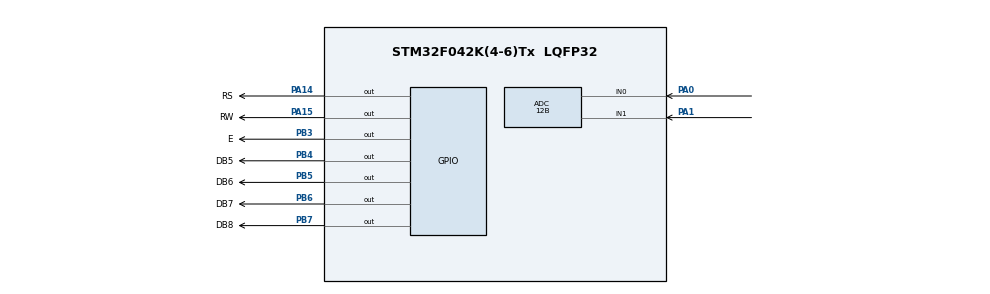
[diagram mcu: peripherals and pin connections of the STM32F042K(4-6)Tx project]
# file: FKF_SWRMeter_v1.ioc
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ADC.ClockPrescaler=ADC_CLOCK_SYNC_PCLK_DIV2
ADC.ContinuousConvMode=ENABLE
ADC.DMAContinuousRequests=ENABLE
ADC.DataAlign=ADC_DATAALIGN_RIGHT
ADC.DiscontinuousConvMode=DISABLE
ADC.EOCSelection=ADC_EOC_SEQ_CONV
ADC.EnableAnalogWatchDog=false
ADC.ExternalTrigConv=ADC_SOFTWARE_START
ADC.ExternalTrigConvEdge=ADC_EXTERNALTRIGCONVEDGE_NONE
ADC.LowPowerAutoPowerOff=DISABLE
ADC.LowPowerAutoWait=DISABLE
ADC.Overrun=ADC_OVR_DATA_OVERWRITTEN
ADC.Resolution=ADC_RESOLUTION_12B
ADC.SamplingTime=ADC_SAMPLETIME_1CYCLE_5
ADC.ScanConvMode=ADC_SCAN_DIRECTION_FORWARD
Dma.ADC.0.Direction=DMA_PERIPH_TO_MEMORY
Dma.ADC.0.Instance=DMA1_Channel1
Dma.ADC.0.MemDataAlignment=DMA_MDATAALIGN_HALFWORD
Dma.ADC.0.MemInc=DMA_MINC_ENABLE
Dma.ADC.0.Mode=DMA_CIRCULAR
Dma.ADC.0.PeriphDataAlignment=DMA_PDATAALIGN_HALFWORD
Dma.ADC.0.PeriphInc=DMA_PINC_DISABLE
Dma.ADC.0.Priority=DMA_PRIORITY_MEDIUM
Dma.Request0=ADC
Mcu.Family=STM32F0
Mcu.Name=STM32F042K(4-6)Tx
Mcu.Package=LQFP32
NVIC.DMA1_Channel1_IRQn=true\:0\:0\:false\:false\:true\:true
PA0.Mode=IN0
PA0.Signal=ADC_IN0
PA1.Mode=IN1
PA1.Signal=ADC_IN1
PA14.GPIO_Label=RS
PA14.Signal=GPIO_Output
PA15.GPIO_Label=RW
PA15.Signal=GPIO_Output
PB3.GPIO_Label=E
PB3.Signal=GPIO_Output
PB4.GPIO_Label=DB5
PB4.Signal=GPIO_Output
PB5.GPIO_Label=DB6
PB5.Signal=GPIO_Output
PB6.GPIO_Label=DB7
PB6.Signal=GPIO_Output
PB7.GPIO_Label=DB8
PB7.Signal=GPIO_Output
ProjectManager.HeapSize=0x200
ProjectManager.StackSize=0x400
ProjectManager.TargetToolchain=SW4STM32
board=FKF_SWRMeter_v1

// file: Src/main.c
/**
  ******************************************************************************
  * @file           : main.c
  * @brief          : Main program body
  ******************************************************************************
  ** This notice applies to any and all portions of this file
  * that are not between comment pairs USER CODE BEGIN and
  * USER CODE END. Other portions of this file, whether
  * inserted by the user or by software development tools
  * are owned by their respective copyright owners.
  *
  * COPYRIGHT(c) 2018 STMicroelectronics
  *
  * Redistribution and use in source and binary forms, with or without modification,
  * are permitted provided that the following conditions are met:
  *   1. Redistributions of source code must retain the above copyright notice,
  *      this list of conditions and the following disclaimer.
  *   2. Redistributions in binary form must reproduce the above copyright notice,
  *      this list of conditions and the following disclaimer in the documentation
  *      and/or other materials provided with the distribution.
  *   3. Neither the name of STMicroelectronics nor the names of its contributors
  *      may be used to endorse or promote products derived from this software
  *      without specific prior written permission.
  *
  * THIS SOFTWARE IS PROVIDED BY THE COPYRIGHT HOLDERS AND CONTRIBUTORS "AS IS"
  * AND ANY EXPRESS OR IMPLIED WARRANTIES, INCLUDING, BUT NOT LIMITED TO, THE
  * IMPLIED WARRANTIES OF MERCHANTABILITY AND FITNESS FOR A PARTICULAR PURPOSE ARE
  * DISCLAIMED. IN NO EVENT SHALL THE COPYRIGHT HOLDER OR CONTRIBUTORS BE LIABLE
  * FOR ANY DIRECT, INDIRECT, INCIDENTAL, SPECIAL, EXEMPLARY, OR CONSEQUENTIAL
  * DAMAGES (INCLUDING, BUT NOT LIMITED TO, PROCUREMENT OF SUBSTITUTE GOODS OR
  * SERVICES; LOSS OF USE, DATA, OR PROFITS; OR BUSINESS INTERRUPTION) HOWEVER
  * CAUSED AND ON ANY THEORY OF LIABILITY, WHETHER IN CONTRACT, STRICT LIABILITY,
  * OR TORT (INCLUDING NEGLIGENCE OR OTHERWISE) ARISING IN ANY WAY OUT OF THE USE
  * OF THIS SOFTWARE, EVEN IF ADVISED OF THE POSSIBILITY OF SUCH DAMAGE.
  *
  ******************************************************************************
  */
#include "main.h"
#include "stm32f0xx_hal.h"

/* USER CODE BEGIN Includes */
#include "lcd.h"
#include <math.h>
#include <string.h>
/* USER CODE END Includes */

ADC_HandleTypeDef hadc;
DMA_HandleTypeDef hdma_adc;

/* USER CODE BEGIN PV */
/* Private variables ---------------------------------------------------------*/
#define MED_VALUE 10
#define FWD_SLOPE 0.034602076
#define FWD_INTERCEPT 43.979238754
#define REF_SLOPE 0.034843206
#define REF_INTERCEPT 45.12195122

/* USER CODE END PV */

void SystemClock_Config(void);
static void MX_GPIO_Init(void);
static void MX_DMA_Init(void);
static void MX_ADC_Init(void);

/* USER CODE BEGIN PFP */
/* Private function prototypes -----------------------------------------------*/
int median_value(int *c);
double mean_value(double *c);

/* USER CODE END PFP */

int main(void)
{

  /* MCU Configuration----------------------------------------------------------*/

  /* Reset of all peripherals, Initializes the Flash interface and the Systick. */
  HAL_Init();

  /* Configure the system clock */
  SystemClock_Config();

  /* Initialize all configured peripherals */
  MX_GPIO_Init();
  MX_DMA_Init();
  MX_ADC_Init();
  /* USER CODE BEGIN 2 */

  HAL_Delay(50);
  LcdInit();
  HAL_Delay(10);

  LcdPuts((char *)"POWER+SWR  METER");
  HAL_Delay(10);
  LcdXy(0,1);
  HAL_Delay(10);
  LcdPuts((char *)"     JP7FKF     ");
  HAL_Delay(1000);
  LcdCls();

  int i = 0;
//  int fwd_buf[MED_VALUE], ref_buf[MED_VALUE];
  int fwd,ref;
  double fwd_watt, ref_watt;
  double fwd_sqrt, ref_sqrt;
  double swr;
  char str[10];

  enum{ ADC_BUFFER_LENGTH = 1024 };
  uint16_t g_ADCBuffer[ADC_BUFFER_LENGTH];

  memset(g_ADCBuffer, 0, sizeof(g_ADCBuffer));
  HAL_ADC_Start_DMA(&hadc, (uint32_t *)g_ADCBuffer, (uint32_t)ADC_BUFFER_LENGTH);

  /* USER CODE END 2 */

  /* Infinite loop */
  while (1)
  {

  /* USER CODE BEGIN 3 */
	  fwd = g_ADCBuffer[0];
	  ref = g_ADCBuffer[1];

//	  fwd_buf[i] = (int)fwd;
//	  fwd = median_value(fwd_buf);
//	  ref_buf[i] = (int)ref;
//	  ref = median_value(ref_buf);

//	  fwd_buf[i] = (double)fwd_watt;
//	  fwd_watt = mean_value(fwd_buf);
//	  ref_buf[i] = (double)ref_watt;
//	  ref_watt = mean_value(ref_buf);

	  i++;
	  if(i>=MED_VALUE)
		  i=0;

	fwd_watt = fwd * FWD_SLOPE - FWD_INTERCEPT; //volt -> dBm
	ref_watt = ref * REF_SLOPE - REF_INTERCEPT;

	fwd_watt = pow(10, fwd_watt/10);  //dBm -> mW
	ref_watt = pow(10, ref_watt/10);

	fwd_sqrt = fwd_watt;
	ref_sqrt = ref_watt;

	if(fwd_watt + ref_watt < 0.001)
		swr = -1;
	else
		swr = 1;

	if(fwd_watt < 1)
	{
		// mW to uW
		fwd_watt *= 1000;
		sprintf(str, "%6.2fuW",fwd_watt);
	}else if(fwd_watt > 1000){
		// mW to W
		fwd_watt /= 1000;
		sprintf(str, "%7.1fW",fwd_watt);
	}else{
		sprintf(str, "%6.2fmW",fwd_watt);
	}
	LcdXy(0,0);
	LcdPuts(str);
	LcdXy(8,0);
	LcdPuts("/");

	if(ref_watt < 1)
	{
		// mW to uW
		ref_watt *= 1000;
		sprintf(str, "%5.1fuW",ref_watt);
	}else if(ref_watt > 1000){
		// mW to W
		ref_watt /= 1000;
		sprintf(str, "%6.1fW",ref_watt);
	}else{
		sprintf(str, "%5.1fmW",ref_watt);
	}
	LcdPuts(str);

	if(swr == 1)
	{
		//calc swr
		fwd_sqrt = sqrt(fwd_sqrt);
		ref_sqrt = sqrt(ref_sqrt);

		swr = (fwd_sqrt + ref_sqrt)/(fwd_sqrt - ref_sqrt);
//		if(swr > 9.9)
//			swr = 9.99;
		sprintf(str, "SWR: %5.2f",swr);
	}else{
		sprintf(str, "Standby");
	}
//	sprintf(str,"%4d / %4d",fwd, ref);
	LcdXy(0,1);
	LcdPuts(str);
  }
  /* USER CODE END 3 */

}

void SystemClock_Config(void)
{

  RCC_OscInitTypeDef RCC_OscInitStruct;
  RCC_ClkInitTypeDef RCC_ClkInitStruct;

    /**Initializes the CPU, AHB and APB busses clocks
    */
  RCC_OscInitStruct.OscillatorType = RCC_OSCILLATORTYPE_HSI;
  RCC_OscInitStruct.HSIState = RCC_HSI_ON;
  RCC_OscInitStruct.HSICalibrationValue = 16;
  RCC_OscInitStruct.PLL.PLLState = RCC_PLL_NONE;
  if (HAL_RCC_OscConfig(&RCC_OscInitStruct) != HAL_OK)
  {
    _Error_Handler(__FILE__, __LINE__);
  }

    /**Initializes the CPU, AHB and APB busses clocks
    */
  RCC_ClkInitStruct.ClockType = RCC_CLOCKTYPE_HCLK|RCC_CLOCKTYPE_SYSCLK
                              |RCC_CLOCKTYPE_PCLK1;
  RCC_ClkInitStruct.SYSCLKSource = RCC_SYSCLKSOURCE_HSI;
  RCC_ClkInitStruct.AHBCLKDivider = RCC_SYSCLK_DIV1;
  RCC_ClkInitStruct.APB1CLKDivider = RCC_HCLK_DIV1;

  if (HAL_RCC_ClockConfig(&RCC_ClkInitStruct, FLASH_LATENCY_0) != HAL_OK)
  {
    _Error_Handler(__FILE__, __LINE__);
  }

    /**Configure the Systick interrupt time
    */
  HAL_SYSTICK_Config(HAL_RCC_GetHCLKFreq()/1000);

    /**Configure the Systick
    */
  HAL_SYSTICK_CLKSourceConfig(SYSTICK_CLKSOURCE_HCLK);

  /* SysTick_IRQn interrupt configuration */
  HAL_NVIC_SetPriority(SysTick_IRQn, 0, 0);
}

/* ADC init function */
static void MX_ADC_Init(void)
{

  ADC_ChannelConfTypeDef sConfig;

    /**Configure the global features of the ADC (Clock, Resolution, Data Alignment and number of conversion)
    */
  hadc.Instance = ADC1;
  hadc.Init.ClockPrescaler = ADC_CLOCK_SYNC_PCLK_DIV2;
  hadc.Init.Resolution = ADC_RESOLUTION_12B;
  hadc.Init.DataAlign = ADC_DATAALIGN_RIGHT;
  hadc.Init.ScanConvMode = ADC_SCAN_DIRECTION_FORWARD;
  hadc.Init.EOCSelection = ADC_EOC_SEQ_CONV;
  hadc.Init.LowPowerAutoWait = DISABLE;
  hadc.Init.LowPowerAutoPowerOff = DISABLE;
  hadc.Init.ContinuousConvMode = ENABLE;
  hadc.Init.DiscontinuousConvMode = DISABLE;
  hadc.Init.ExternalTrigConv = ADC_SOFTWARE_START;
  hadc.Init.ExternalTrigConvEdge = ADC_EXTERNALTRIGCONVEDGE_NONE;
  hadc.Init.DMAContinuousRequests = ENABLE;
  hadc.Init.Overrun = ADC_OVR_DATA_OVERWRITTEN;
  if (HAL_ADC_Init(&hadc) != HAL_OK)
  {
    _Error_Handler(__FILE__, __LINE__);
  }

    /**Configure for the selected ADC regular channel to be converted.
    */
  sConfig.Channel = ADC_CHANNEL_0;
  sConfig.Rank = ADC_RANK_CHANNEL_NUMBER;
  sConfig.SamplingTime = ADC_SAMPLETIME_1CYCLE_5;
  if (HAL_ADC_ConfigChannel(&hadc, &sConfig) != HAL_OK)
  {
    _Error_Handler(__FILE__, __LINE__);
  }

    /**Configure for the selected ADC regular channel to be converted.
    */
  sConfig.Channel = ADC_CHANNEL_1;
  if (HAL_ADC_ConfigChannel(&hadc, &sConfig) != HAL_OK)
  {
    _Error_Handler(__FILE__, __LINE__);
  }

}

static void MX_DMA_Init(void)
{
  /* DMA controller clock enable */
  __HAL_RCC_DMA1_CLK_ENABLE();

  /* DMA interrupt init */
  /* DMA1_Channel1_IRQn interrupt configuration */
  HAL_NVIC_SetPriority(DMA1_Channel1_IRQn, 0, 0);
  HAL_NVIC_EnableIRQ(DMA1_Channel1_IRQn);

}

/** Configure pins as
        * Analog
        * Input
        * Output
        * EVENT_OUT
        * EXTI
*/
static void MX_GPIO_Init(void)
{

  GPIO_InitTypeDef GPIO_InitStruct;

  /* GPIO Ports Clock Enable */
  __HAL_RCC_GPIOA_CLK_ENABLE();
  __HAL_RCC_GPIOB_CLK_ENABLE();

  /*Configure GPIO pin Output Level */
  HAL_GPIO_WritePin(GPIOA, RS_Pin|RW_Pin, GPIO_PIN_RESET);

  /*Configure GPIO pin Output Level */
  HAL_GPIO_WritePin(GPIOB, E_Pin|DB5_Pin|DB6_Pin|DB7_Pin
                          |DB8_Pin, GPIO_PIN_RESET);

  /*Configure GPIO pins : RS_Pin RW_Pin */
  GPIO_InitStruct.Pin = RS_Pin|RW_Pin;
  GPIO_InitStruct.Mode = GPIO_MODE_OUTPUT_PP;
  GPIO_InitStruct.Pull = GPIO_NOPULL;
  GPIO_InitStruct.Speed = GPIO_SPEED_FREQ_LOW;
  HAL_GPIO_Init(GPIOA, &GPIO_InitStruct);

  /*Configure GPIO pins : E_Pin DB5_Pin DB6_Pin DB7_Pin
                           DB8_Pin */
  GPIO_InitStruct.Pin = E_Pin|DB5_Pin|DB6_Pin|DB7_Pin
                          |DB8_Pin;
  GPIO_InitStruct.Mode = GPIO_MODE_OUTPUT_PP;
  GPIO_InitStruct.Pull = GPIO_NOPULL;
  GPIO_InitStruct.Speed = GPIO_SPEED_FREQ_LOW;
  HAL_GPIO_Init(GPIOB, &GPIO_InitStruct);

}

/* USER CODE BEGIN 4 */

int median_value(int *c)
{
    int i, j;
    int med[MED_VALUE];
    double buf;

    for(i=0; i<MED_VALUE; i++)
    {
    	med[i] = c[i];
    }

    for (j=0; j<MED_VALUE-1; j++) {
        for (i=0; i<MED_VALUE-1; i++) {
            if (med[i+1] < med[i]) {
                buf = med[i+1];
                med[i+1] = med[i];
                med[i] = buf;
            }
        }
    }
    return (int)med[MED_VALUE/2];
}

double mean_value(double *c)
{
    int i;
    double sum = 0;

    for(i=0; i<MED_VALUE; i++)
    {
    	sum += c[i];
    }

    return sum/MED_VALUE;
}

/* USER CODE END 4 */

void _Error_Handler(char *file, int line)
{
  while(1)
  {
  }
}

/************************ (C) COPYRIGHT STMicroelectronics *****END OF FILE****/
